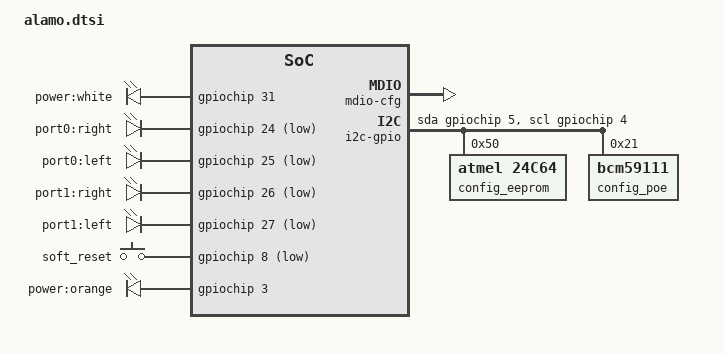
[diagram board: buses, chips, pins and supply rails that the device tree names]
/*
 * Copyright (C) 2014 Meraki, Inc.
 *
 * This program is free software; you can redistribute it and/or modify
 * it under the terms of the GNU General Public License version 2 as
 * published by the Free Software Foundation.
 */

/include/ "wired-arm-nsp.dtsi"

/ {
        mdio-cfg {
            compatible = "bcm-mdio-ctrl";
        };

        i2c-gpio {
            #address-cells = <1>;
            #size-cells = <0>;
            compatible = "i2c-gpio";
            gpios = <&gpiochip 5 0 /* sda  */
                 &gpiochip 4 0>; /* scl  */
            i2c-gpio,delay-us = <10>;   /* ~100 kHz  */

            config_eeprom: at24@50 {
                compatible = "atmel,24c64";
                pagesize = <32>;
                reg = <0x50>;
            };

            config_poe: bcm59111@21 {
                compatible = "bcm59111";
                reg = <0x21>;
                ports = <2>;
                port_base = <11>;
                max_power_mw = <240000>;
            };
        };

        gpio-cfg {
                compatible = "iproc-gpio-cfg";
                gpios-general = <1 3 4 5 8 12 13 14 15 18 19 20 24 25 26 27 28 29 30 31>;
                gpios-aux = <6 7 33 34 35>;
                gpios-export = <1 1>;
                gpio-reset = <14 1>;
        };

        leds {
                compatible = "gpio-leds";
                white {
                        label = "power:white";
                        gpios = <&gpiochip 31 0>;
                        default-state = "off";
                };

                port0right {
                        label = "port0:right";
                        gpios = <&gpiochip 24 1>;
                        default-state = "off";
                };
                port0left {
                        label = "port0:left";
                        gpios = <&gpiochip 25 1>;
                        default-state = "off";
                };
                port1right {
                        label = "port1:right";
                        gpios = <&gpiochip 26 1>;
                        default-state = "off";
                };
                port1left {
                        label = "port1:left";
                        gpios = <&gpiochip 27 1>;
                        default-state = "off";
                };
        };

        gpio-buttons {
                compatible = "gpio-keys-polled";
                autorepeat;
                poll-interval = <20>;
                button@1 {
                        label = "soft_reset";
                        linux,code = <0x198>;     // EV_RESTART
                        linux,input-type = <1>;   // EV_KEY
                        debounce-interval = <60>;
                        gpios = <&gpiochip 8 1>;
                };
        };

        power_led {
                compatible = "gpio-leds";
                orange {
                        label = "power:orange";
                        gpios = <&gpiochip 3 0>;
                };
        };
};
